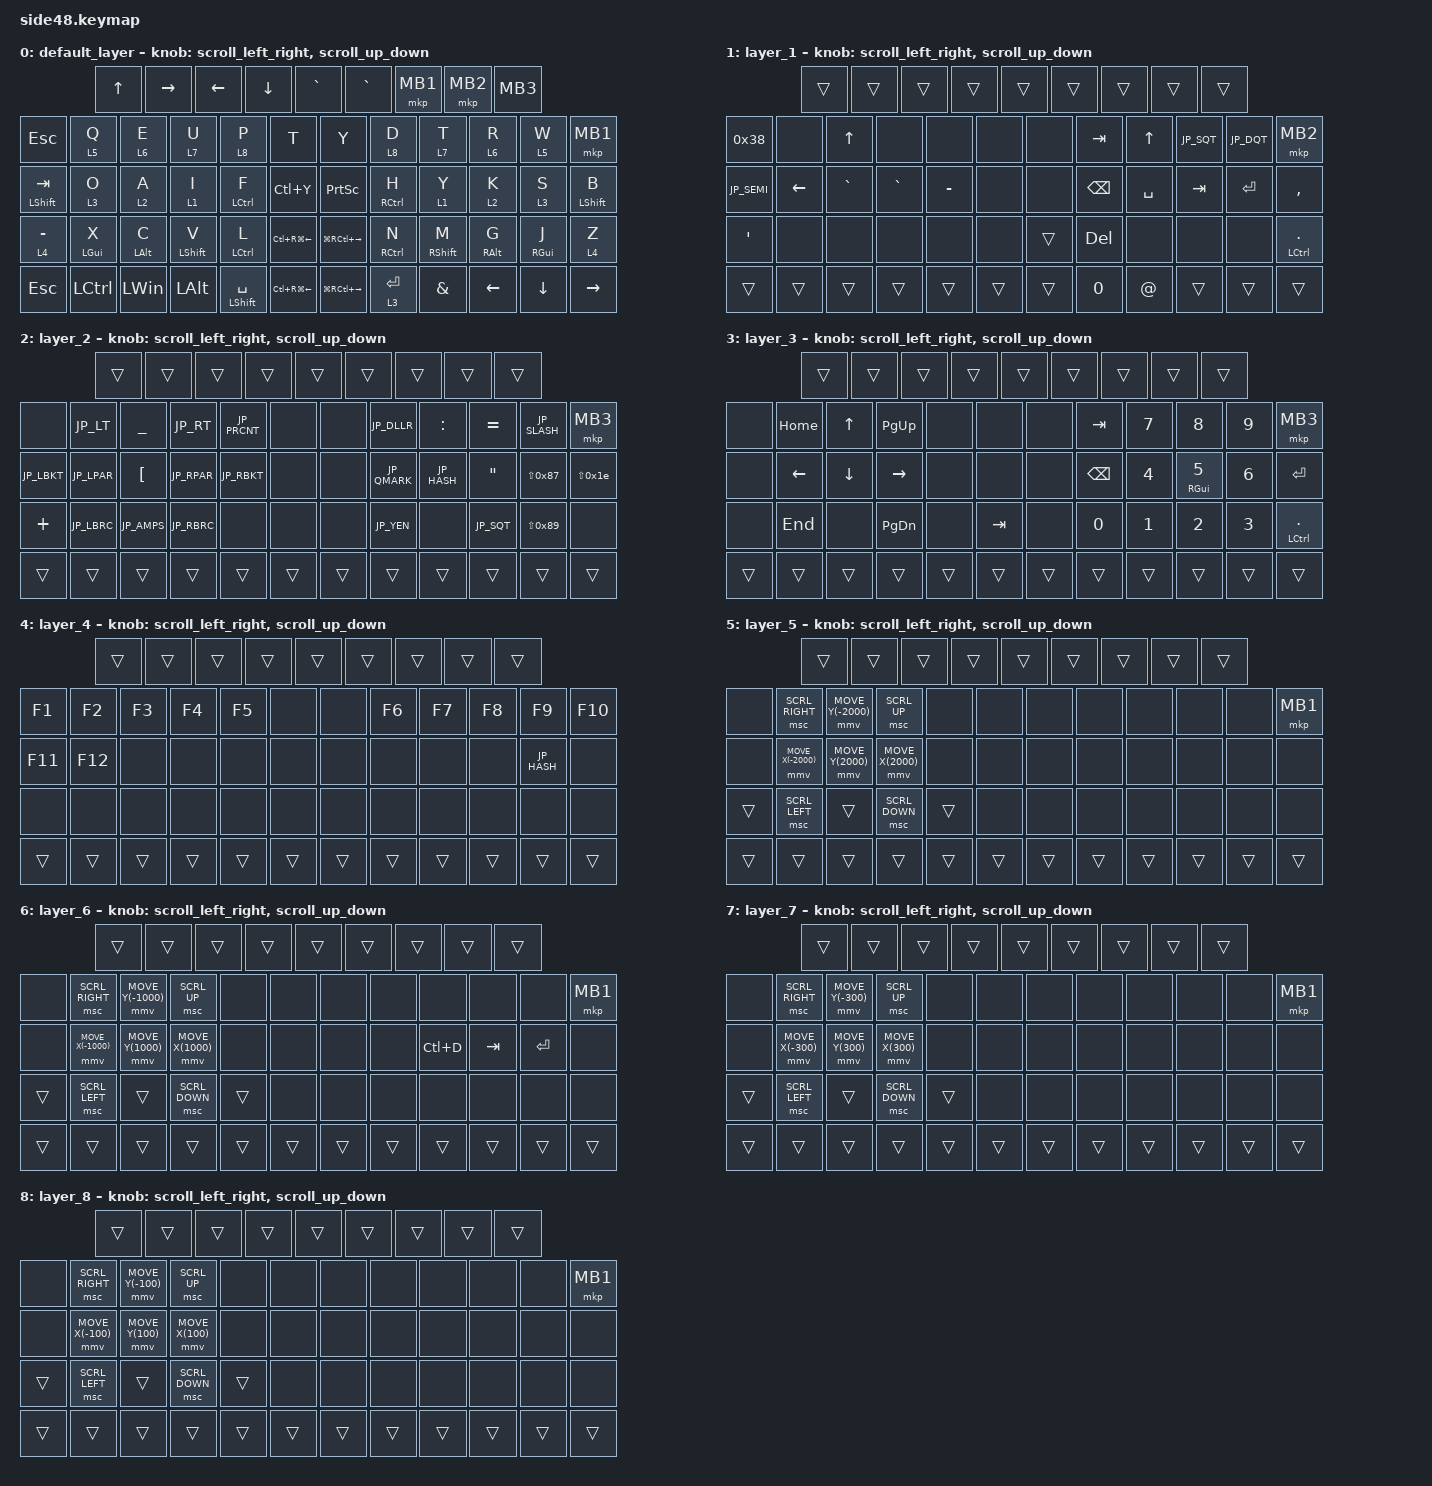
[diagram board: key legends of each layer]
#include "keycode_japanese.h"


#include <input/processors.dtsi>
#include <dt-bindings/zmk/input_transform.h>
#include <zephyr/dt-bindings/input/input-event-codes.h>
#include <behaviors.dtsi>
#include <dt-bindings/zmk/bt.h>
#include <dt-bindings/zmk/keys.h>
#include <dt-bindings/zmk/pointing.h>

// Conversion definition for using Japanese keyboard with OS settings
#define JP_DQUOTE       AT                // "
#define JP_AMPERSAND    CARET             // &
#define JP_QUOTE        AMPERSAND         // '
#define JP_EQUAL        UNDER             // =
#define JP_CARET        EQUAL             // ^
#define JP_YEN          0x89              // ¥
#define JP_PLUS         COLON             // +
#define JP_TILDE        PLUS              // ~
#define JP_PIPE         LS(0x89)          // |
#define JP_AT           LEFT_BRACKET      // @
#define JP_COLON        SINGLE_QUOTE      // :
#define JP_ASTERISK     DOUBLE_QUOTES     // *
#define JP_BACKQUOTE    LEFT_BRACE        // `
#define JP_UNDERSCORE   LS(0x87)          // _
#define JP_LBRACKET     RIGHT_BRACKET     // [
#define JP_RBRACKET     BACKSLASH         // ]
#define JP_LPAREN       ASTERISK          // (
#define JP_RPAREN       LEFT_PARENTHESIS  // )
#define JP_LBRACE       RIGHT_BRACE       // {
#define JP_RBRACE       PIPE              // }
#define JP_KANA         LANGUAGE_1        // かな
#define JP_EISU         LANGUAGE_2        // 英数
#define JP_HANZEN       GRAVE             // 半角/全角

#define ZMK_POINTING_DEFAULT_SCRL_VAL 40
#define MOUSE 0
#define ZMK_MOUSE_DEFAULT_SCRL_VAL 40

&msc {
    acceleration-exponent = <0>;      // 0
    time-to-max-speed-ms = <0>;       // 300
    delay-ms = <0>;                   // 0
};

&mmv {
    time-to-max-speed-ms = <0>;
    acceleration-exponent = <0>;
    trigger-period-ms = <10>;
    delay-ms = <0>;
};

&mt { 
    flavor = "balanced"; 
    tapping-term-ms = <200>;
    quick-tap-ms = <150>; 
};

&lt {
    flavor = "balanced";
    tapping-term-ms = <200>; 
    quick-tap-ms = <150>; 
};




// 0 1 2 3 4 5 6 7 8

// 9 10 11 12 13 14       15 16 17 18 19 20

//21 22 23 24 25 26       27 28 29 30 31 32

//33 34 35 36 37 38       39 40 41 42 43 44

//45 46 47 48 49 50       51 52 53 54 55 56

/ {


    combos {
        compatible = "zmk,combos";

      lang {
            bindings = <&kp GRAVE>;
            key-positions = <10 12>;
            layers = <0>;
            timeout-ms = <200>;
        };

 fopen {
            bindings = <&kp LG(N2)>;
            key-positions = <16 20>;
            layers = <0>;
            timeout-ms = <200>;
        };

       bootloader_R {
            bindings = <&bootloader>;
            key-positions = <15 20 51 56>;
            timeout-ms = <200>;
        };

       bootloader_L {
            bindings = <&bootloader>;
            key-positions = <9 14 45 50>;
            timeout-ms = <200>;
        };

        eq {
            bindings = <&bt BT_CLR_ALL>;
            key-positions = <9 21 33 45>;
            timeout-ms = <50>;
            layers = <0>;
        };

        bt0 {
            bindings = <&bt BT_SEL 0>;
            key-positions = <15 27 39 51>;
            timeout-ms = <50>;
            layers = <0>;
        };

        bt1 {
            bindings = <&bt BT_SEL 1>;
            key-positions = <16 28 40 52>;
            layers = <0>;
        };

        bt2 {
            bindings = <&bt BT_SEL 2>;
            key-positions = <17 29 41 53>;
            layers = <0>;
        };

        mute {
            bindings = <&kp C_MUTE>;
            key-positions = <24 25>;
            layers = <0>;
        };

        vup {
            bindings = <&kp C_VOL_UP>;
            key-positions = <12 13>;
            layers = <0>;
        };

        vdn {
            bindings = <&kp C_VOL_DN>;
            key-positions = <36 37>;
            layers = <0>;
        };

        printscreen {
            bindings = <&kp PSCRN>;
            key-positions = <34 36>;
            layers = <0>;
            timeout-ms = <250>;
        };


        space {
            bindings = <&kp SPACE>;
            key-positions = <21 24>;
            layers = <0>;
            timeout-ms = <250>;
        };






       };






    behaviors {
        lt_mkp: lt_mkp {
            compatible = "zmk,behavior-hold-tap";
            label = "LT_MKP";
            bindings = <&mo>, <&mkp>;
            #binding-cells = <2>;
            tapping-term-ms = <200>;
        };

        scroll_up_down: behavior_sensor_rotate_mouse_wheel_up_down {
            compatible = "zmk,behavior-sensor-rotate";
            #sensor-binding-cells = <0>;
            bindings = <&msc SCRL_UP>, <&msc SCRL_DOWN>;
            //bindings = <&msc SCRL_DOWN>, <&msc SCRL_UP>;
            // 追加: スクロールのタップ時間を設定 (20ms)
            tap-ms = <20>;
        };

        scroll_left_right: behavior_sensor_rotate_mouse_wheel_left_right {
            compatible = "zmk,behavior-sensor-rotate";
            #sensor-binding-cells = <0>;
            bindings = <&msc SCRL_LEFT>, <&msc SCRL_RIGHT>;
            //bindings = <&msc SCRL_RIGHT>, <&msc SCRL_LEFT>;
            // 追加: スクロールのタップ時間を設定 (20ms)
            tap-ms = <20>;
        };

    };

    keymap {
        compatible = "zmk,keymap";

        default_layer {
            bindings = <
&kp UP     &kp RIGHT  &kp LEFT  &kp DOWN  &kp GRAVE        &kp GRAVE           &mkp MB1    &mkp MB2     &kp MB3                                             //左から未使用、未使用、未使用、未使用、未使用、未使用、上側マウスボタン、下側マウスボタン、未使用

&kp ESCAPE      &lt 5 Q    &lt 6 E    &lt 7 U       &lt 8 P            &kp T               &kp Y      &lt 8 D        &lt 7 T       &lt 6 R     &lt 5 W     &mkp MB1
&mt LSHIFT TAB  &lt 3 O    &lt 2 A    &lt 1 I       &mt LCTRL F        &kp LC(Y)              &kp PRINTSCREEN      &mt RCTRL H  &lt 1 Y       &lt 2 K     &lt 3 S     &mt LEFT_SHIFT B
&lt 4 MINUS     &mt LGUI X &mt LALT C &mt LSHIFT V  &mt LCTRL L  &kp LC(RG(LEFT))             &kp LG(RC(RIGHT))             &mt RCTRL N  &mt RSHIFT M  &mt RALT G  &mt RGUI J  &lt 4 Z
&kp ESC    &kp LCTRL  &kp LWIN  &kp LALT  &mt LSHFT SPACE        &kp LC(RG(LEFT))             &kp LG(RC(RIGHT))    &lt 3 ENTER  &kp JP_QUOTE  &kp LEFT  &kp DOWN       &kp RIGHT 
            >;
            sensor-bindings = <&scroll_left_right &scroll_up_down>;
        };

        layer_1 {
            bindings = <
&trans  &trans        &trans        &trans           &trans           &trans          &trans        &trans         &trans    

 &kp 0x38      &none      &kp UP     &none      &none          &none      &none                     &kp TAB        &kp UP     &kp JP_SQT  &kp JP_DQT  &mkp MB2
&kp JP_SEMI   &kp LEFT   &kp GRAVE  &kp GRAVE  &kp MINUS  &none      &none  &kp BACKSPACE  &kp SPACE  &kp TAB     &kp ENTER   &kp COMMA
 &kp JP_COLON  &none      &none      &none      &none      &none         &trans    &kp DELETE     &none      &none       &none       &mt LCTRL PERIOD
&trans  &trans        &trans        &trans           &trans           &trans          &trans        &kp NUMBER_0   &kp JP_DQUOTE  &trans        &trans         &trans
            >;
            sensor-bindings = <&scroll_left_right &scroll_up_down>;
        };

        layer_2 {
            bindings = <
&trans  &trans           &trans     &trans     &trans      &trans          &trans        &trans             &trans    

    &none        &kp JP_LT      &kp JP_EQUAL   &kp JP_RT    &kp JP_PRCNT        &none      &none                          &kp JP_DLLR   &kp JP_PLUS  &kp JP_CARET      &kp JP_SLASH  &mkp MB3
            &kp JP_LBKT  &kp JP_LPAR    &kp JP_AT      &kp JP_RPAR  &kp JP_RBKT      &none                   &none       &kp JP_QMARK  &kp JP_HASH  &kp DOUBLE_QUOTES &kp LS(0x87)  &kp LS(0x1e)
            &kp JP_TILDE &kp JP_LBRC    &kp JP_AMPS    &kp JP_RBRC  &none            &none                 &none         &kp JP_YEN    &none        &kp JP_SQT        &kp JP_PIPE   &none
&trans  &trans           &trans     &trans     &trans      &trans          &trans        &trans             &trans            &trans       &trans           &trans
            >;
            sensor-bindings = <&scroll_left_right &scroll_up_down>;
        };

        layer_3 {
            bindings = <
&trans  &trans  &trans  &trans  &trans  &trans     &trans  &trans    &trans    

    &none        &kp HOME   &kp UP     &kp PAGE_UP      &none               &none  &none                     &kp TAB          &kp N7          &kp N8        &kp N9         &mkp MB3
                &none        &kp LEFT   &kp DOWN   &kp RIGHT        &none  &none                   &none       &kp BACKSPACE  &kp N4          &mt RGUI N5        &kp N6         &kp ENTER
                &none        &kp END    &none      &kp PAGE_DOWN    &none      &kp TAB             &none           &kp N0         &kp N1          &kp N2        &kp N3         &mt LCTRL PERIOD

&trans  &trans  &trans  &trans  &trans  &trans     &trans  &trans    &trans    &trans     &trans   &trans
            >;
            sensor-bindings = <&scroll_left_right &scroll_up_down>;
        };

        layer_4 {
            bindings = <
&trans  &trans  &trans  &trans  &trans  &trans    &trans       &trans        &trans    

               &kp F1   &kp F2    &kp F3  &kp F4  &kp F5          &none     &none                    &kp F6  &kp F7  &kp F8  &kp F9       &kp F10
               &kp F11  &kp F12   &none   &none   &none     &none                  &none      &none   &none   &none   &kp JP_HASH  &none
               &none    &none     &none   &none   &none     &none                  &none      &none   &none   &none   &none        &none


&trans  &trans  &trans  &trans  &trans  &trans    &trans       &trans        &trans        &trans        &trans        &trans
            >;
            sensor-bindings = <&scroll_left_right &scroll_up_down>;
        };



        layer_5 {
            bindings = <
&trans  &trans  &trans  &trans  &trans  &trans    &trans       &trans        &trans    

             &none   &msc SCRL_RIGHT    &mmv MOVE_Y(-2000)  &msc SCRL_UP       &none       &none  &none               &none   &none  &none  &none  &mkp MB1
                &none   &mmv MOVE_X(-2000) &mmv MOVE_Y(2000)   &mmv MOVE_X(2000)  &none  &none          &none        &none   &none  &none  &none  &none
                &trans  &msc SCRL_LEFT     &trans              &msc SCRL_DOWN     &trans &none          &none        &none   &none  &none  &none  &none

&trans  &trans  &trans  &trans  &trans  &trans    &trans       &trans        &trans        &trans        &trans        &trans
            >;
            sensor-bindings = <&scroll_left_right &scroll_up_down>;
        };




        layer_6 {
            bindings = <
&trans  &trans  &trans  &trans  &trans  &trans    &trans       &trans        &trans    

           &none  &msc SCRL_RIGHT   &mmv MOVE_Y(-1000) &msc SCRL_UP      &none     &none  &none              &none  &none     &none    &none     &mkp MB1
                &none  &mmv MOVE_X(-1000) &mmv MOVE_Y(1000)  &mmv MOVE_X(1000)  &none  &none          &none       &none  &kp LC(D) &kp TAB  &kp ENTER &none 
                &trans &msc SCRL_LEFT    &trans            &msc SCRL_DOWN    &trans &none          &none       &none  &none     &none    &none     &none

&trans  &trans  &trans  &trans  &trans  &trans    &trans       &trans        &trans        &trans        &trans        &trans
            >;
            sensor-bindings = <&scroll_left_right &scroll_up_down>;
        };



        layer_7 {
            bindings = <
&trans  &trans  &trans  &trans  &trans  &trans    &trans       &trans        &trans    

    &none  &msc SCRL_RIGHT   &mmv MOVE_Y(-300) &msc SCRL_UP      &none     &none  &none         &none  &none  &none  &none  &mkp MB1
                &none  &mmv MOVE_X(-300) &mmv MOVE_Y(300)  &mmv MOVE_X(300)  &none  &none         &none             &none  &none  &none  &none  &none
                &trans &msc SCRL_LEFT    &trans            &msc SCRL_DOWN    &trans &none         &none             &none  &none  &none  &none  &none
&trans  &trans  &trans  &trans  &trans  &trans    &trans       &trans        &trans        &trans        &trans        &trans
            >;
            sensor-bindings = <&scroll_left_right &scroll_up_down>;
        };


        layer_8 {
            bindings = <
&trans  &trans  &trans  &trans  &trans  &trans    &trans       &trans        &trans    

    &none  &msc SCRL_RIGHT   &mmv MOVE_Y(-100) &msc SCRL_UP      &none     &none  &none         &none  &none  &none  &none  &mkp MB1
                &none  &mmv MOVE_X(-100) &mmv MOVE_Y(100)  &mmv MOVE_X(100)  &none  &none         &none             &none  &none  &none  &none  &none
                &trans &msc SCRL_LEFT    &trans            &msc SCRL_DOWN    &trans &none         &none             &none  &none  &none  &none  &none
&trans  &trans  &trans  &trans  &trans  &trans    &trans       &trans        &trans        &trans        &trans        &trans
            >;
            sensor-bindings = <&scroll_left_right &scroll_up_down>;
        };




    };
};
